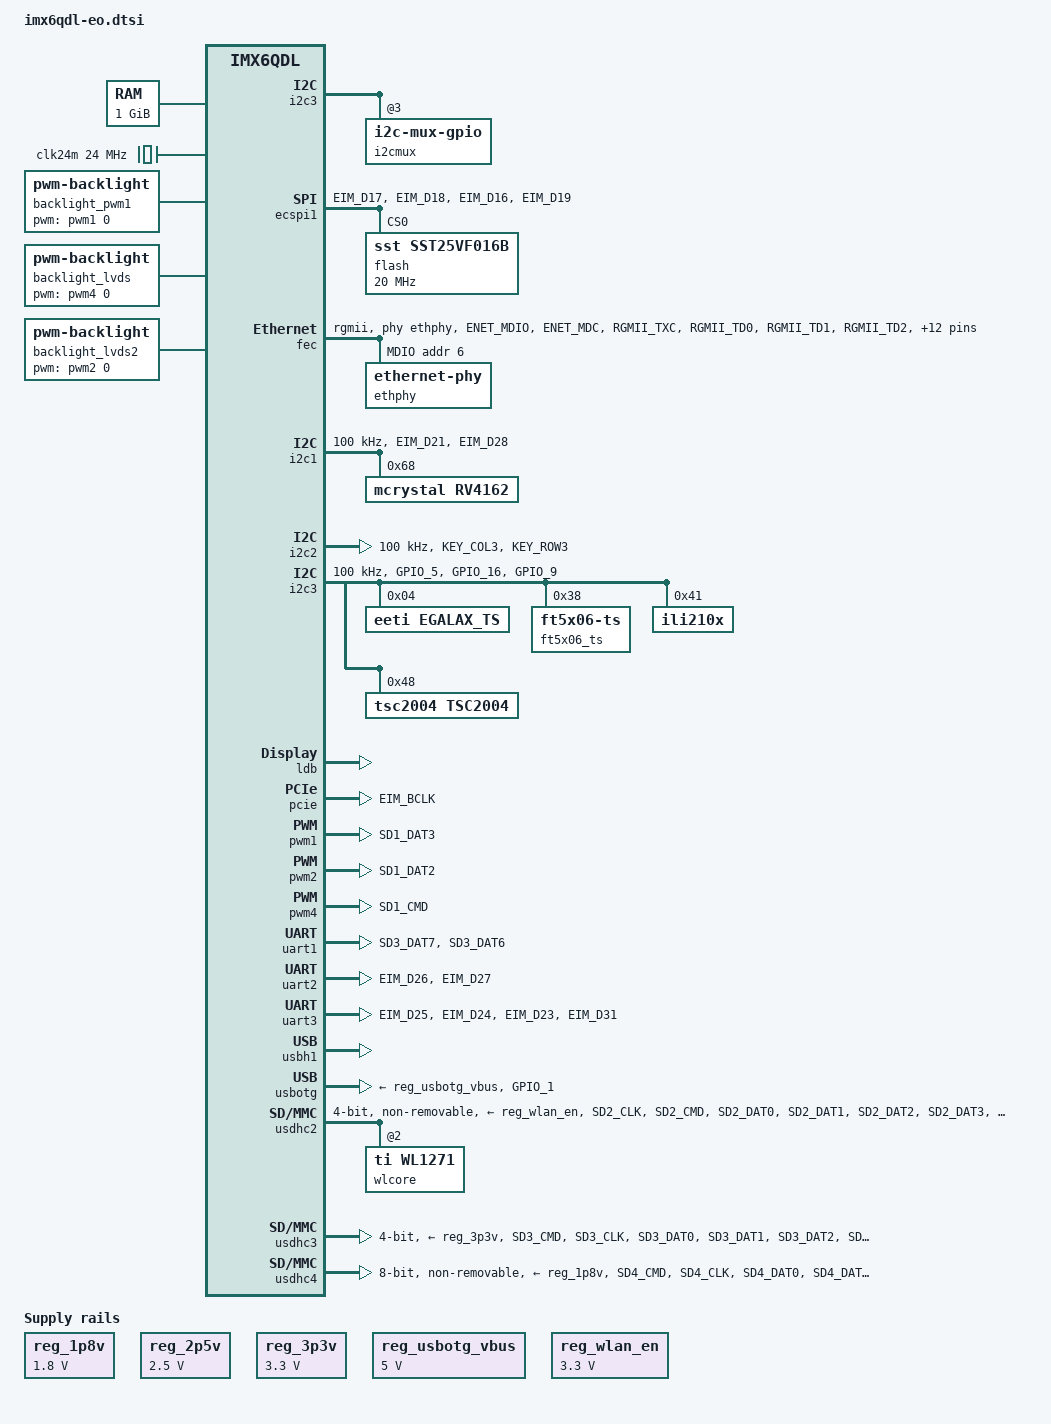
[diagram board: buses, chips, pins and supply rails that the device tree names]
/*
 * Copyright 2015 Boundary Devices
 *
 * The code contained herein is licensed under the GNU General Public
 * License. You may obtain a copy of the GNU General Public License
 * Version 2 or later at the following locations:
 *
 * http://www.opensource.org/licenses/gpl-license.html
 * http://www.gnu.org/copyleft/gpl.html
 */
#include <dt-bindings/gpio/gpio.h>
#include <dt-bindings/input/input.h>

&iomuxc {
	pinctrl-names = "default";
	pinctrl-0 = <&pinctrl_hog>;

        iomuxc_imx6q_eo: iomuxc-imx6q-eogrp {
                status = "okay";
        };
};

&iomuxc_imx6q_eo {
	pinctrl_bt_rfkill: bt-rfkillgrp {
		fsl,pins = <
#define GP_BT_RFKILL_RESET	<&gpio6 16 GPIO_ACTIVE_LOW>
			MX6QDL_PAD_NANDF_CS3__GPIO6_IO16	0x000b0
		>;
	};

	pinctrl_ecspi1: ecspi1grp {
		fsl,pins = <
			MX6QDL_PAD_EIM_D17__ECSPI1_MISO		0x100b1
			MX6QDL_PAD_EIM_D18__ECSPI1_MOSI		0x100b1
			MX6QDL_PAD_EIM_D16__ECSPI1_SCLK		0x100b1
#define GP_ECSPI1_NOR_CS	<&gpio3 19 GPIO_ACTIVE_LOW>
			MX6QDL_PAD_EIM_D19__GPIO3_IO19		0x000b1
		>;
	};

	pinctrl_enet: enetgrp {
		fsl,pins = <
			MX6QDL_PAD_ENET_MDIO__ENET_MDIO		0x1b0b0
			MX6QDL_PAD_ENET_MDC__ENET_MDC		0x1b0b0
			MX6QDL_PAD_RGMII_TXC__RGMII_TXC		0x100b0
			MX6QDL_PAD_RGMII_TD0__RGMII_TD0		0x100b0
			MX6QDL_PAD_RGMII_TD1__RGMII_TD1		0x100b0
			MX6QDL_PAD_RGMII_TD2__RGMII_TD2		0x100b0
			MX6QDL_PAD_RGMII_TD3__RGMII_TD3		0x100b0
			MX6QDL_PAD_RGMII_TX_CTL__RGMII_TX_CTL	0x100b0
			MX6QDL_PAD_ENET_REF_CLK__ENET_TX_CLK	0x100b0
			MX6QDL_PAD_RGMII_RXC__RGMII_RXC		0x1b0b0
			MX6QDL_PAD_RGMII_RD0__RGMII_RD0		0x1b0b0
			MX6QDL_PAD_RGMII_RD1__RGMII_RD1		0x1b0b0
			MX6QDL_PAD_RGMII_RD2__RGMII_RD2		0x1b0b0
			MX6QDL_PAD_RGMII_RD3__RGMII_RD3		0x1b0b0
			MX6QDL_PAD_RGMII_RX_CTL__RGMII_RX_CTL	0x1b0b0
#define GP_ENET_PHY_RESET	<&gpio1 27 GPIO_ACTIVE_LOW>
			MX6QDL_PAD_ENET_RXD0__GPIO1_IO27	0x030b0
#define GPIRQ_ENET_PHY		<&gpio1 28 IRQ_TYPE_LEVEL_LOW>
			MX6QDL_PAD_ENET_TX_EN__GPIO1_IO28	0x1b0b0
#define GPIRQ_ENET		<&gpio1 6 IRQ_TYPE_LEVEL_HIGH>
			MX6QDL_PAD_GPIO_6__ENET_IRQ		0x000b1
		>;
	};

	pinctrl_hog: hoggrp {
		fsl,pins = <
#define GP_HOG_TP71	<&gpio1 30 GPIO_ACTIVE_LOW>
			MX6QDL_PAD_ENET_TXD0__GPIO1_IO30	0x1b0b0
#define GP_ACC_INT2		<&gpio1 4 GPIO_ACTIVE_LOW>
			MX6QDL_PAD_GPIO_4__GPIO1_IO04			0x000b0
		>;
	};

	pinctrl_i2c1: i2c1grp {
		fsl,pins = <
			MX6QDL_PAD_EIM_D21__I2C1_SCL		0x4001b8b1
			MX6QDL_PAD_EIM_D28__I2C1_SDA		0x4001b8b1
		>;
	};

	pinctrl_i2c1_1: i2c1_1grp {
		fsl,pins = <
#define GP_I2C1_SCL	<&gpio3 21 GPIO_ACTIVE_HIGH>
			MX6QDL_PAD_EIM_D21__GPIO3_IO21		0x4001b8b1
#define GP_I2C1_SDA	<&gpio3 28 GPIO_ACTIVE_HIGH>
			MX6QDL_PAD_EIM_D28__GPIO3_IO28		0x4001b8b1
		>;
	};

	pinctrl_i2c1_rv4162: i2c1-rv4162grp {
		fsl,pins = <
#define GPIRQ_RTC_RV4162	<&gpio4 6 IRQ_TYPE_LEVEL_LOW>
			MX6QDL_PAD_KEY_COL0__GPIO4_IO06		0x1b0b0
		>;
	};

	pinctrl_i2c2: i2c2grp {
		fsl,pins = <
			MX6QDL_PAD_KEY_COL3__I2C2_SCL		0x4001b8b1
			MX6QDL_PAD_KEY_ROW3__I2C2_SDA		0x4001b8b1
		>;
	};

	pinctrl_i2c2_1: i2c2_1grp {
		fsl,pins = <
#define GP_I2C2_SCL	<&gpio4 12 GPIO_ACTIVE_HIGH>
			MX6QDL_PAD_KEY_COL3__GPIO4_IO12		0x4001b8b1
#define GP_I2C2_SDA	<&gpio4 13 GPIO_ACTIVE_HIGH>
			MX6QDL_PAD_KEY_ROW3__GPIO4_IO13		0x4001b8b1
		>;
	};

	pinctrl_i2c3: i2c3grp {
		fsl,pins = <
			MX6QDL_PAD_GPIO_5__I2C3_SCL		0x4001b8b1
			MX6QDL_PAD_GPIO_16__I2C3_SDA		0x4001b8b1
#define GPIRQ_I2C3_J7	<&gpio1 9 IRQ_TYPE_EDGE_FALLING>
#define GP_I2C3_J7	<&gpio1 9 GPIO_ACTIVE_LOW>
			MX6QDL_PAD_GPIO_9__GPIO1_IO09		0x1b0b0		/* I2C3 J7 interrupt */
		>;
	};

	pinctrl_i2c3_1: i2c3_1grp {
		fsl,pins = <
#define GP_I2C3_SCL	<&gpio1 5 GPIO_ACTIVE_HIGH>
			MX6QDL_PAD_GPIO_5__GPIO1_IO05		0x4001b8b1
#define GP_I2C3_SDA	<&gpio7 11 GPIO_ACTIVE_HIGH>
			MX6QDL_PAD_GPIO_16__GPIO7_IO11		0x4001b8b1
		>;
	};

	pinctrl_i2c3mux: i2c3muxgrp {
		fsl,pins = <
#define GP_I2C3MUX_A	<&gpio2 25 GPIO_ACTIVE_HIGH>
			MX6QDL_PAD_EIM_OE__GPIO2_IO25		0x030b0		/* pcie i2c enable */
		>;
	};

	pinctrl_i2c3_tsc2004: i2c3-tsc2004grp {
		fsl,pins = <
#define GPIRQ_TSC2004		<&gpio4 20 IRQ_TYPE_EDGE_FALLING>
#define GP_TSC2004		<&gpio4 20 GPIO_ACTIVE_LOW>
			MX6QDL_PAD_DI0_PIN4__GPIO4_IO20		0x1b0b0		/* tsc2004 interrupt */
		>;
	};

	pinctrl_pcie: pciegrp {
		fsl,pins = <
#define GP_PCIE_RESET	<&gpio6 31 GPIO_ACTIVE_LOW>
			MX6QDL_PAD_EIM_BCLK__GPIO6_IO31		0x000b0		/* pcie reset */
		>;
	};

	pinctrl_pwm1: pwm1grp {
		fsl,pins = <
			MX6QDL_PAD_SD1_DAT3__PWM1_OUT		0x1b0b1
		>;
	};

	pinctrl_pwm2: pwm2grp {
		fsl,pins = <
			MX6QDL_PAD_SD1_DAT2__PWM2_OUT		0x1b0b1
		>;
	};

	pinctrl_pwm4: pwm4grp {
		fsl,pins = <
			MX6QDL_PAD_SD1_CMD__PWM4_OUT		0x1b0b1
		>;
	};
	pinctrl_reg_usbotg_vbus: reg-usbotg-vbusgrp {
		fsl,pins = <
#define GP_REG_USBOTG	<&gpio3 22 GPIO_ACTIVE_HIGH>
			MX6QDL_PAD_EIM_D22__GPIO3_IO22		0x030b0
		>;
	};

	pinctrl_reg_wlan_en: reg-wlan-engrp {
		fsl,pins = <
#define GP_REG_WLAN_EN	<&gpio6 15 GPIO_ACTIVE_HIGH>
			MX6QDL_PAD_NANDF_CS2__GPIO6_IO15	0x030b0
		>;
	};

	pinctrl_uart1: uart1grp {
		fsl,pins = <
			MX6QDL_PAD_SD3_DAT7__UART1_TX_DATA	0x1b0b1
			MX6QDL_PAD_SD3_DAT6__UART1_RX_DATA	0x1b0b1
		>;
	};

	pinctrl_uart2: uart2grp {
		fsl,pins = <
			MX6QDL_PAD_EIM_D26__UART2_TX_DATA	0x1b0b1
			MX6QDL_PAD_EIM_D27__UART2_RX_DATA	0x1b0b1
		>;
	};

	pinctrl_uart3: uart3grp {
		fsl,pins = <
			MX6QDL_PAD_EIM_D25__UART3_RX_DATA	0x1b0b1
			MX6QDL_PAD_EIM_D24__UART3_TX_DATA	0x1b0b1
			MX6QDL_PAD_EIM_D23__UART3_CTS_B		0x1b0b1
			MX6QDL_PAD_EIM_D31__UART3_RTS_B		0x1b0b1
		>;
	};

	pinctrl_usbotg: usbotggrp {
		fsl,pins = <
			MX6QDL_PAD_GPIO_1__USB_OTG_ID		0x17059
		>;
	};

	pinctrl_usdhc2: usdhc2grp {
		fsl,pins = <
			MX6QDL_PAD_SD2_CLK__SD2_CLK		0x10071
			MX6QDL_PAD_SD2_CMD__SD2_CMD		0x17071
			MX6QDL_PAD_SD2_DAT0__SD2_DATA0		0x17071
			MX6QDL_PAD_SD2_DAT1__SD2_DATA1		0x17071
			MX6QDL_PAD_SD2_DAT2__SD2_DATA2		0x17071
			MX6QDL_PAD_SD2_DAT3__SD2_DATA3		0x17071
			MX6QDL_PAD_SD1_CLK__OSC32K_32K_OUT	0x000b0		/* slow clock */
#define GPIRQ_WL1271	<&gpio6 11 IRQ_TYPE_LEVEL_HIGH>
			MX6QDL_PAD_NANDF_CS0__GPIO6_IO11	0x100b0
		>;
	};

	pinctrl_usdhc3: usdhc3grp {
		fsl,pins = <
			MX6QDL_PAD_SD3_CMD__SD3_CMD		0x17059
			MX6QDL_PAD_SD3_CLK__SD3_CLK		0x10059
			MX6QDL_PAD_SD3_DAT0__SD3_DATA0		0x17059
			MX6QDL_PAD_SD3_DAT1__SD3_DATA1		0x17059
			MX6QDL_PAD_SD3_DAT2__SD3_DATA2		0x17059
			MX6QDL_PAD_SD3_DAT3__SD3_DATA3		0x17059
#define GP_USDHC3_CD	<&gpio7 0 GPIO_ACTIVE_LOW>
			MX6QDL_PAD_SD3_DAT5__GPIO7_IO00		0x80000000
		>;
	};

	pinctrl_usdhc4: usdhc4grp {
		fsl,pins = <
			MX6QDL_PAD_SD4_CMD__SD4_CMD		0x17059
			MX6QDL_PAD_SD4_CLK__SD4_CLK		0x10059
			MX6QDL_PAD_SD4_DAT0__SD4_DATA0		0x17059
			MX6QDL_PAD_SD4_DAT1__SD4_DATA1		0x17059
			MX6QDL_PAD_SD4_DAT2__SD4_DATA2		0x17059
			MX6QDL_PAD_SD4_DAT3__SD4_DATA3		0x17059
			MX6QDL_PAD_SD4_DAT4__SD4_DATA4		0x17059
			MX6QDL_PAD_SD4_DAT5__SD4_DATA5		0x17059
			MX6QDL_PAD_SD4_DAT6__SD4_DATA6		0x17059
			MX6QDL_PAD_SD4_DAT7__SD4_DATA7		0x17059
		>;
	};
};

/ {
	aliases {
		backlight_lvds = &backlight_lvds;
		backlight_lvds2 = &backlight_lvds2;
		fb_lvds = &fb_lvds;
		fb_lvds2 = &fb_lvds2;
		ldb = &ldb;
		mmc0 = &usdhc3;
		mmc1 = &usdhc4;
		mmc2 = &usdhc2;
                mxcfb1 = &fb_lvds;
                mxcfb3 = &fb_lvds2;
		pwm_lvds = &pwm4;
		pwm_lvds2 = &pwm2;
		t_lvds = &t_lvds;
		t_lvds2 = &t_lvds2;
	};

	memory {
		reg = <0x10000000 0x40000000>;
	};

	clocks {
		clk24m: clk24m {
			compatible = "fixed-clock";
			#clock-cells = <0>;
			clock-frequency = <24000000>;
		};
	};

	regulators {
		compatible = "simple-bus";
		#address-cells = <1>;
		#size-cells = <0>;

		reg_1p8v: regulator@0 {
			compatible = "regulator-fixed";
			reg = <0>;
			regulator-name = "1P8V";
			regulator-min-microvolt = <1800000>;
			regulator-max-microvolt = <1800000>;
			regulator-always-on;
		};

		reg_2p5v: regulator@1 {
			compatible = "regulator-fixed";
			reg = <1>;
			regulator-name = "2P5V";
			regulator-min-microvolt = <2500000>;
			regulator-max-microvolt = <2500000>;
			regulator-always-on;
		};

		reg_3p3v: regulator@2 {
			compatible = "regulator-fixed";
			reg = <2>;
			regulator-name = "3P3V";
			regulator-min-microvolt = <3300000>;
			regulator-max-microvolt = <3300000>;
			regulator-always-on;
		};

		reg_usbotg_vbus: regulator@3 {
			compatible = "regulator-fixed";
			reg = <3>;
			pinctrl-names = "default";
			pinctrl-0 = <&pinctrl_reg_usbotg_vbus>;
			regulator-name = "usb_otg_vbus";
			regulator-min-microvolt = <5000000>;
			regulator-max-microvolt = <5000000>;
			gpio = GP_REG_USBOTG;
			enable-active-high;
		};

		reg_wlan_en: regulator@4 {
			compatible = "regulator-fixed";
			reg = <4>;
			pinctrl-names = "default";
			pinctrl-0 = <&pinctrl_reg_wlan_en>;
			regulator-name = "wlan-en";
			regulator-min-microvolt = <3300000>;
			regulator-max-microvolt = <3300000>;
			gpio = GP_REG_WLAN_EN;
			startup-delay-us = <70000>;
			enable-active-high;
			debug;
		};
	};

	fb_lvds: fb@1 {
		compatible = "fsl,mxc_sdc_fb";
		disp_dev = "ldb";
		interface_pix_fmt = "RGB24";
		default_bpp = <32>;
		int_clk = <0>;
		late_init = <0>;
		status = "okay";
	};

	fb_lvds2: fb@3 {
		compatible = "fsl,mxc_sdc_fb";
		disp_dev = "ldb";
		interface_pix_fmt = "RGB666";
		default_bpp = <16>;
		int_clk = <0>;
		late_init = <0>;
		status = "disabled";
	};

	backlight_pwm1: backlight_pwm1 {
		brightness-levels = <0 10 20 30 40 50 60 70 80 90 100>;
		compatible = "pwm-backlight";
		default-brightness-level = <10>;
		pwms = <&pwm1 0 5000000>;
	};

	backlight_lvds: backlight_lvds {
		brightness-levels = <0 10 20 30 40 50 60 70 80 90 100>;
		compatible = "pwm-backlight";
		default-brightness-level = <10>;
		display = <&fb_lvds>;
		pwms = <&pwm4 0 5000000>;
	};

	backlight_lvds2: backlight_lvds2 {
		brightness-levels = <0 10 20 30 40 50 60 70 80 90 100>;
		compatible = "pwm-backlight";
		default-brightness-level = <10>;
		display = <&fb_lvds2>;
		pwms = <&pwm2 0 5000000>;
	};

	v4l2_out {
		compatible = "fsl,mxc_v4l2_output";
		status = "okay";
	};

	bt_rfkill {
		compatible = "net,rfkill-gpio";
		pinctrl-names = "default";
		pinctrl-0 = <&pinctrl_bt_rfkill>;
		name = "bt_rfkill";
		type = <2>;     /* bluetooth */
		reset-gpios = GP_BT_RFKILL_RESET;
	};

	i2cmux@3 {
		compatible = "i2c-mux-gpio";
		pinctrl-names = "default";
		pinctrl-0 = <&pinctrl_i2c3mux>;
		#address-cells = <1>;
		#size-cells = <0>;
		mux-gpios = GP_I2C3MUX_A;
		i2c-parent = <&i2c3>;
		idle-state = <0>;

		i2c3a: i2c3@1 {
			reg = <1>;
			#address-cells = <1>;
			#size-cells = <0>;
		};
	};
};

&ecspi1 {
	pinctrl-names = "default";
	pinctrl-0 = <&pinctrl_ecspi1>;
	fsl,spi-num-chipselects = <1>;
	cs-gpios = GP_ECSPI1_NOR_CS;
	status = "okay";

	flash: m25p80@0 {
		compatible = "sst,sst25vf016b";
		spi-max-frequency = <20000000>;
		reg = <0>;
		#address-cells = <1>;
		#size-cells = <1>;
		mtd@00000000 {
			label = "U-Boot";
			reg = <0x0 0xC0000>;
		};

		mtd@000C0000 {
			label = "env";
			reg = <0xC0000 0x2000>;
		};
		mtd@000C2000 {
			label = "splash";
			reg = <0xC2000 0x13e000>;
		};
	};
};

&fec {
	interrupts-extended = GPIRQ_ENET,
			      <&gpc 0 119 IRQ_TYPE_LEVEL_HIGH>;
	phy-handle = <&ethphy>;
	phy-mode = "rgmii";
#if 0
	phy-reset-gpios = GP_ENET_PHY_RESET;
#endif
	pinctrl-names = "default";
	pinctrl-0 = <&pinctrl_enet>;
	status = "okay";

	mdio {
		#address-cells = <0>;
		#size-cells = <1>;

		ethphy: ethernet-phy@6 {
			reg = <6>;
			interrupts-extended = GPIRQ_ENET_PHY;
		};
	};
};

&i2c1 {
	clock-frequency = <100000>;
	pinctrl-names = "default", "gpio";
	pinctrl-0 = <&pinctrl_i2c1>;
	pinctrl-1 = <&pinctrl_i2c1_1>;
	scl-gpios = GP_I2C1_SCL;
	sda-gpios = GP_I2C1_SDA;
	status = "okay";

	rv4162@68 {
		compatible = "mcrystal,rv4162";
		pinctrl-names = "default";
		pinctrl-0 = <&pinctrl_i2c1_rv4162>;
		reg = <0x68>;
		interrupts-extended = GPIRQ_RTC_RV4162;
	};
};


&i2c2 {
	clock-frequency = <100000>;
	pinctrl-names = "default", "gpio";
	pinctrl-0 = <&pinctrl_i2c2>;
	pinctrl-1 = <&pinctrl_i2c2_1>;
	scl-gpios = GP_I2C2_SCL;
	sda-gpios = GP_I2C2_SDA;
	status = "okay";

};

&i2c3 {
	clock-frequency = <100000>;
	pinctrl-names = "default", "gpio";
	pinctrl-0 = <&pinctrl_i2c3>;
	pinctrl-1 = <&pinctrl_i2c3_1>;
	scl-gpios = GP_I2C3_SCL;
	sda-gpios = GP_I2C3_SDA;
	status = "okay";

        egalax_ts@04 {
                compatible = "eeti,egalax_ts";
                reg = <0x04>;
                interrupts-extended = GPIRQ_I2C3_J7;
                wakeup-gpios = GP_I2C3_J7;
        };

        ft5x06_ts@38 {
		compatible = "ft5x06-ts";
		reg = <0x38>;
                interrupts-extended = GPIRQ_I2C3_J7;
		wakeup-gpios = GP_I2C3_J7;
	};

        ili210x@41 {
		compatible = "ili210x";
		reg = <0x41>;
                interrupts-extended = GPIRQ_I2C3_J7;
		wakeup-gpios = GP_I2C3_J7;
	};

	tsc2004: tsc2004@48 {
		compatible = "tsc2004,tsc2004";
		reg = <0x48>;
		pinctrl-names = "default";
		pinctrl-0 = <&pinctrl_i2c3_tsc2004>;
		interrupts-extended = GPIRQ_TSC2004;
		wakeup-gpios = GP_TSC2004;
	};
};

&ldb {
	split-mode = <1>;
	status = "okay";

	lvds-channel@0 {
		crtc = "ipu1-di1";
		fsl,data-mapping = "spwg";
		fsl,data-width = <24>;
		status = "okay";
		primary;

		display-timings {
			t_lvds: t_lvds_default {
				/* lvds1080p values may be changed in bootscript */
				clock-frequency = <148500000>;
				hactive = <1920>;
				vactive = <1080>;
				hback-porch = <148>;
				hfront-porch = <88>;
				vback-porch = <36>;
				vfront-porch = <4>;
				hsync-len = <44>;
				vsync-len = <5>;
			};
			lg1280x800: lp101wx1 {
				clock-frequency = <72000000>;
				hactive = <1280>;
				vactive = <800>;
				hback-porch = <48>;
				hfront-porch = <80>;
				vback-porch = <15>;
				vfront-porch = <2>;
				hsync-len = <32>;
				vsync-len = <6>;
			};
			okaya1024x600: okaya7x0WP {
				clock-frequency = <52000000>;
				hactive = <1024>;
				vactive = <600>;
				hback-porch = <220>;
				hfront-porch = <40>;
				vback-porch = <7>;
				vfront-porch = <21>;
				hsync-len = <60>;
				vsync-len = <10>;
			};
			hannstar: hsd100pxn1 {
				clock-frequency = <65000000>;
				hactive = <1024>;
				vactive = <768>;
				hback-porch = <220>;
				hfront-porch = <40>;
				vback-porch = <21>;
				vfront-porch = <7>;
				hsync-len = <60>;
				vsync-len = <10>;
			};
		};
	};

	lvds-channel@1 {
		crtc = "ipu1-di0";
		fsl,data-mapping = "spwg";
		fsl,data-width = <18>;
		status = "okay";

		display-timings {
			t_lvds2: t_lvds2_default {
				/* lg1280x800_2 values may be changed in bootscript */
				clock-frequency = <72000000>;
				hactive = <1280>;
				vactive = <800>;
				hback-porch = <48>;
				hfront-porch = <80>;
				vback-porch = <15>;
				vfront-porch = <2>;
				hsync-len = <32>;
				vsync-len = <6>;
			};
			okaya1024x600_2: okaya7x0WP_2 {
				clock-frequency = <52000000>;
				hactive = <1024>;
				vactive = <600>;
				hback-porch = <220>;
				hfront-porch = <40>;
				vback-porch = <7>;
				vfront-porch = <21>;
				hsync-len = <60>;
				vsync-len = <10>;
			};
			hannstar_2: hsd100pxn1_2 {
				clock-frequency = <65000000>;
				hactive = <1024>;
				vactive = <768>;
				hback-porch = <220>;
				hfront-porch = <40>;
				vback-porch = <21>;
				vfront-porch = <7>;
				hsync-len = <60>;
				vsync-len = <10>;
			};
		};
	};
};

&pcie {
	pinctrl-names = "default";
	pinctrl-0 = <&pinctrl_pcie>;
	reset-gpios = GP_PCIE_RESET;
	status = "okay";
};

&pwm1 {
	pinctrl-names = "default";
	pinctrl-0 = <&pinctrl_pwm1>;
	status = "okay";
};

&pwm2 {
	pinctrl-names = "default";
	pinctrl-0 = <&pinctrl_pwm2>;
	status = "okay";
};

&pwm4 {
	pinctrl-names = "default";
	pinctrl-0 = <&pinctrl_pwm4>;
	status = "okay";
};

&uart1 {
	pinctrl-names = "default";
	pinctrl-0 = <&pinctrl_uart1>;
	status = "okay";
};

&uart2 {
	pinctrl-names = "default";
	pinctrl-0 = <&pinctrl_uart2>;
	status = "okay";
};

&uart3 {
	pinctrl-names = "default";
	pinctrl-0 = <&pinctrl_uart3>;
	fsl,uart-has-rtscts;
	status = "okay";
};

&usbh1 {
	pinctrl-names = "default";
	disable-over-current;
	status = "okay";
};

&usbotg {
	vbus-supply = <&reg_usbotg_vbus>;
	pinctrl-names = "default";
	pinctrl-0 = <&pinctrl_usbotg>;
	disable-over-current;
	status = "okay";
};

&usdhc2 {	/* uSDHC2, TiWi wl1271 */
	pinctrl-names = "default";
	pinctrl-0 = <&pinctrl_usdhc2>;
	bus-width = <4>;
	non-removable;
	vmmc-supply = <&reg_wlan_en>;
	vqmmc-1-8-v;
	cap-power-off-card;
	keep-power-in-suspend;
	status = "okay";

	#address-cells = <1>;
	#size-cells = <0>;
	wlcore: wlcore@2 {
		compatible = "ti,wl1271";
		interrupts-extended = GPIRQ_WL1271;
		reg = <2>;
		ref-clock-frequency = <38400000>;
	};
};

&usdhc3 {
	pinctrl-names = "default";
	pinctrl-0 = <&pinctrl_usdhc3>;
	bus-width = <4>;
	cd-gpios = GP_USDHC3_CD;
	vmmc-supply = <&reg_3p3v>;
	status = "okay";
};

&usdhc4 {
	pinctrl-names = "default";
	pinctrl-0 = <&pinctrl_usdhc4>;
	bus-width = <8>;
	non-removable;
	vqmmc-1-8-v;
	vmmc-supply = <&reg_1p8v>;
	keep-power-in-suspend;
	status = "okay";
};
